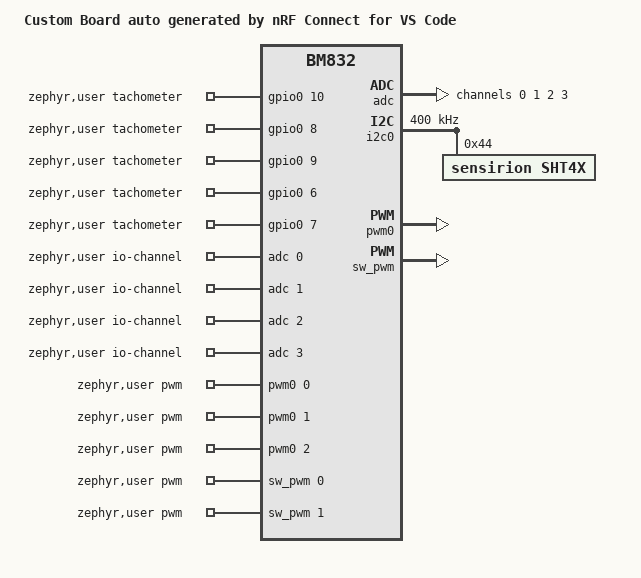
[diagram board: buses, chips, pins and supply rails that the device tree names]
/dts-v1/;
#include <nordic/nrf52810_qfaa.dtsi>
#include "bm832_dryer-pinctrl.dtsi"

/ {
	model = "Custom Board auto generated by nRF Connect for VS Code";
	compatible = "sctanf,bm832-dryer";

	chosen {
		zephyr,sram = &sram0;
		zephyr,flash = &flash0;
		zephyr,code-partition = &slot0_partition;
	};

	zephyr,user {
		io-channels = <&adc 0>,
			<&adc 1>,
			<&adc 2>,
			<&adc 3>;
		pwms = <&pwm0 0 PWM_KHZ(25) PWM_POLARITY_NORMAL>,
			<&pwm0 1 PWM_KHZ(25) PWM_POLARITY_NORMAL>,
			<&pwm0 2 PWM_KHZ(25) PWM_POLARITY_NORMAL>,
			<&sw_pwm 0 PWM_HZ(100) PWM_POLARITY_NORMAL>,
			<&sw_pwm 1 PWM_HZ(100) PWM_POLARITY_NORMAL>;
		tachometer-gpios = <&gpio0 10 GPIO_PULL_UP>,
			<&gpio0 8 GPIO_PULL_UP>,
			<&gpio0 9 GPIO_PULL_UP>,
			<&gpio0 6 GPIO_PULL_UP>,
			<&gpio0 7 GPIO_PULL_UP>;
	};
};

&flash0 {
	partitions {
		compatible = "fixed-partitions";
		#address-cells = <1>;
		#size-cells = <1>;

		boot_partition: partition@0 {
			label = "mcuboot";
			reg = <0x00000000 DT_SIZE_K(48)>;
		};

		slot0_partition: partition@c000 {
			label = "image-0";
			reg = <0x0000c000 DT_SIZE_K(56)>;
		};

		slot1_partition: partition@1a000 {
			label = "image-1";
			reg = <0x0001a000 DT_SIZE_K(56)>;
		};

		storage_partition: partition@28000 {
			label = "storage";
			reg = <0x00028000 DT_SIZE_K(32)>;
		};
	};
};

&reg {
	regulator-initial-mode = <NRF5X_REG_MODE_DCDC>;
};

&adc {
	#address-cells = <1>;
	#size-cells = <0>;
	status = "okay";

	channel@0 {
		reg = <0>;
		zephyr,gain = "ADC_GAIN_1_5";
		zephyr,reference = "ADC_REF_INTERNAL";
		zephyr,acquisition-time = <ADC_ACQ_TIME_DEFAULT>;
		zephyr,input-positive = <NRF_SAADC_AIN0>;
		zephyr,resolution = <14>;
		zephyr,oversampling = <8>;
	};

	channel@1 {
		reg = <1>;
		zephyr,gain = "ADC_GAIN_1_5";
		zephyr,reference = "ADC_REF_INTERNAL";
		zephyr,acquisition-time = <ADC_ACQ_TIME_DEFAULT>;
		zephyr,input-positive = <NRF_SAADC_AIN1>;
		zephyr,resolution = <14>;
		zephyr,oversampling = <8>;
	};

	channel@2 {
		reg = <2>;
		zephyr,gain = "ADC_GAIN_1_5";
		zephyr,reference = "ADC_REF_INTERNAL";
		zephyr,acquisition-time = <ADC_ACQ_TIME_DEFAULT>;
		zephyr,input-positive = <NRF_SAADC_AIN2>;
		zephyr,resolution = <14>;
		zephyr,oversampling = <8>;
	};

	channel@3 {
		reg = <3>;
		zephyr,gain = "ADC_GAIN_1_5";
		zephyr,reference = "ADC_REF_INTERNAL";
		zephyr,acquisition-time = <ADC_ACQ_TIME_DEFAULT>;
		zephyr,input-positive = <NRF_SAADC_AIN3>;
		zephyr,resolution = <14>;
		zephyr,oversampling = <8>;
	};
};

&gpio0 {
	status = "okay";
};

&gpiote {
	status = "okay";
};

&i2c0 {
	compatible = "nordic,nrf-twim";
	status = "okay";
	clock-frequency = <I2C_BITRATE_FAST>;
	pinctrl-0 = <&i2c0_default>;
	pinctrl-1 = <&i2c0_sleep>;
	pinctrl-names = "default", "sleep";

	sht4x@44 {
		status = "okay";
		compatible = "sensirion,sht4x";
		reg = <0x44>;
		repeatability = <2>;
	};
};

&pwm0 {
	status = "okay";
	pinctrl-0 = <&pwm0_default>;
	pinctrl-1 = <&pwm0_sleep>;
	pinctrl-names = "default", "sleep";
};

&sw_pwm {
	status = "okay";
	channel-gpios = <&gpio0 14 PWM_POLARITY_NORMAL>,
		<&gpio0 20 PWM_POLARITY_NORMAL>;
};
